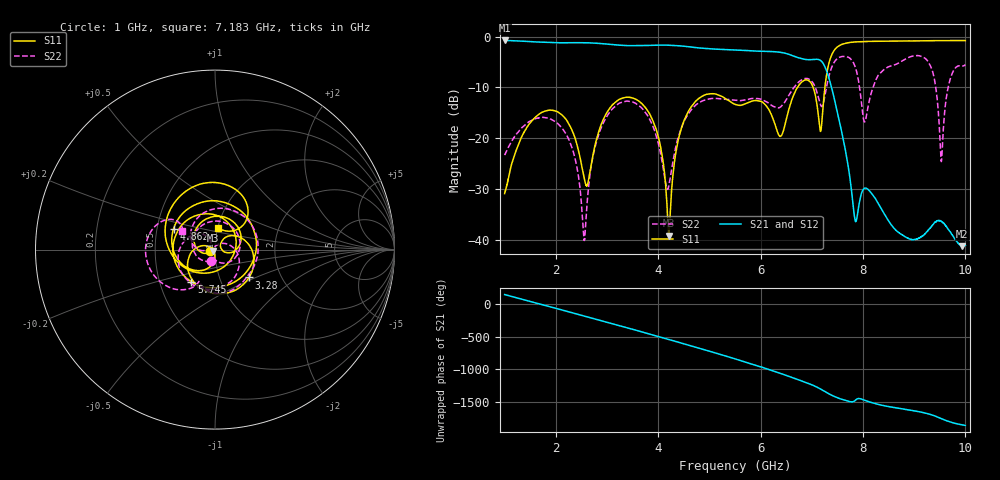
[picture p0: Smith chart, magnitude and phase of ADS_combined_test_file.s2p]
! Created Mon Apr 27 22:15:44 2020
# hz S ri R 50
! 2 Port Network Data from SP1.SP block
! freq  reS11  imS11  reS21  imS21  reS12  imS12  reS22  imS22
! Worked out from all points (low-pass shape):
!   9001 points, 1 GHz to 10 GHz, reference 50 ohm
!   highest |S21| = -0.76 dB at 1.007 GHz (marker M1); lowest = -41.3 dB at 9.941 GHz (marker M2)
!   |S21| within 3 dB of the highest: start of sweep to 6.623 GHz
!   lowest |S11| = -39.2 dB at 4.205 GHz (marker M3), VSWR 1.02, Z = 49.1 - j0.536 ohm
!   |S11| at or under -10 dB: start of sweep to 6.72 GHz; 7.026 GHz to 7.256 GHz (229.2 MHz wide, 3.21 % of centre)
!   |S22| runs from -40.2 to -3.7 dB; largest |S21 - S12| = 0.042
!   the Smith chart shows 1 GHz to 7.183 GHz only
!   S11 on the Smith chart (normalised r, x): 1 GHz: 0.95, -0.02; 3.28 GHz: 1.38, -0.46; 4.862 GHz: 0.61, +0.15; 5.745 GHz: 0.72, -0.27; 7.183 GHz: 1.00, +0.25
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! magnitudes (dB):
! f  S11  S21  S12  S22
! 1 GHz  -31.0  -0.8  -0.8  -23.4
! 1.007 GHz  -30.7  -0.8  -0.8  -23.2
! 1.993 GHz  -14.7  -1.2  -1.2  -16.8
! 2.5 GHz  -25.2  -1.2  -1.2  -32.8
! 3.28 GHz  -12.2  -1.7  -1.7  -13.0
! 4 GHz  -19.6  -1.7  -1.7  -20.9
! 4.205 GHz  -39.2  -1.7  -1.7  -29.5
! 4.431 GHz  -18.8  -1.8  -1.8  -18.6
! 4.862 GHz  -11.7  -2.3  -2.3  -12.7
! 5.5 GHz  -13.3  -2.7  -2.7  -12.5
! 5.745 GHz  -13.1  -2.8  -2.7  -12.4
! 6.39 GHz  -19.7  -3.1  -3.1  -13.9
! 7 GHz  -9.4  -4.5  -4.5  -8.8
! 7.183 GHz  -18.2  -4.8  -4.8  -13.7
! 7.388 GHz  -3.6  -10.1  -10.1  -6.1
! 7.848 GHz  -1.1  -36.3  -36.3  -6.0
! 8.036 GHz  -1.0  -29.9  -29.9  -16.8
! 8.5 GHz  -0.9  -36.3  -36.3  -5.9
! 9.268 GHz  -0.8  -38.2  -38.2  -4.9
! 9.532 GHz  -0.8  -36.4  -36.4  -24.6
! 9.941 GHz  -0.8  -41.3  -41.3  -5.8
! 10 GHz  -0.8  -41.1  -41.1  -5.5
